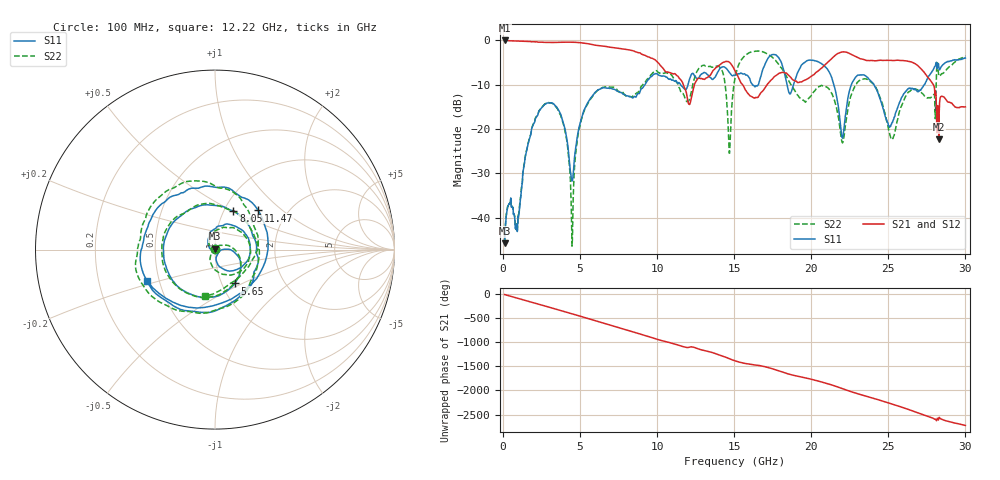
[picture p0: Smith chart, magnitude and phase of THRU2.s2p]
!Keysight Technologies,N5247B,MY61255062,A.15.50.07
!Date: Thursday, February 06, 2025 12:33:17
!Correction: S11(Cdelta 2-Port  )
!S21(Cdelta 2-Port  )
!S12(Cdelta 2-Port  )
!S22(Cdelta 2-Port  )
!S2P File: Measurements: S11, S21, S12, S22:
# Hz S  MA  R 50
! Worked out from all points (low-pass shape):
!   1197 points, 100 MHz to 30 GHz, reference 50 ohm
!   highest |S21| = -0.02 dB at 100 MHz (marker M1); lowest = -22.3 dB at 28.27 GHz (marker M2)
!   |S21| within 3 dB of the highest: start of sweep to 8.95 GHz; 21.69 GHz to 22.51 GHz (820.5 MHz wide, 3.71 % of centre)
!   lowest |S11| = -45.7 dB at 100 MHz (marker M3), VSWR 1.01, Z = 50.2 + j0.484 ohm
!   |S11| at or under -10 dB: start of sweep to 9.209 GHz; 21.47 GHz to 22.6 GHz (1.134 GHz wide, 5.15 % of centre); 24.07 GHz to 27.32 GHz (3.258 GHz wide, 12.7 % of centre)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
!   |S22| runs from -46.4 to -2.4 dB; largest |S21 - S12| = 0.002
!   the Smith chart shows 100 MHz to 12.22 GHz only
!   S11 on the Smith chart (normalised r, x): 100 MHz: 1.00, +0.01; 5.65 GHz: 1.15, -0.46; 8.05 GHz: 1.11, +0.50; 11.47 GHz: 1.43, +0.70; 12.22 GHz: 0.43, -0.18
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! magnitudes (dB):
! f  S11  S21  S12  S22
! 100 MHz  -45.7  0.0  0.0  -45.6
! 925 MHz  -43.1  -0.2  -0.1  -42.9
! 2.825 GHz  -14.2  -0.5  -0.5  -14.2
! 3.925 GHz  -18.8  -0.4  -0.4  -19.0
! 4.5 GHz  -31.7  -0.4  -0.4  -44.8
! 5.1 GHz  -17.4  -0.6  -0.6  -17.7
! 5.65 GHz  -13.2  -0.9  -0.8  -13.4
! 8.05 GHz  -12.5  -2.1  -2.1  -12.4
! 10.07 GHz  -7.8  -5.1  -5.1  -7.3
! 11.47 GHz  -9.8  -8.7  -8.7  -11.0
! 12.22 GHz  -7.6  -12.7  -12.7  -11.5
! 14.07 GHz  -6.3  -5.5  -5.5  -6.1
! 14.7 GHz  -7.3  -5.0  -5.0  -25.5
! 15.05 GHz  -7.8  -6.8  -6.8  -8.5
! 16.75 GHz  -7.8  -11.8  -11.7  -2.5
! 20.05 GHz  -4.5  -8.0  -8.0  -12.4
! 21.23 GHz  -7.6  -4.5  -4.5  -11.4
! 22 GHz  -21.9  -2.6  -2.6  -23.0
! 23.38 GHz  -7.8  -4.3  -4.3  -8.7
! 25.02 GHz  -19.2  -4.5  -4.5  -20.3
! 28.27 GHz  -5.8  -22.3  -22.3  -8.0
! 30 GHz  -4.0  -15.0  -15.0  -3.5
